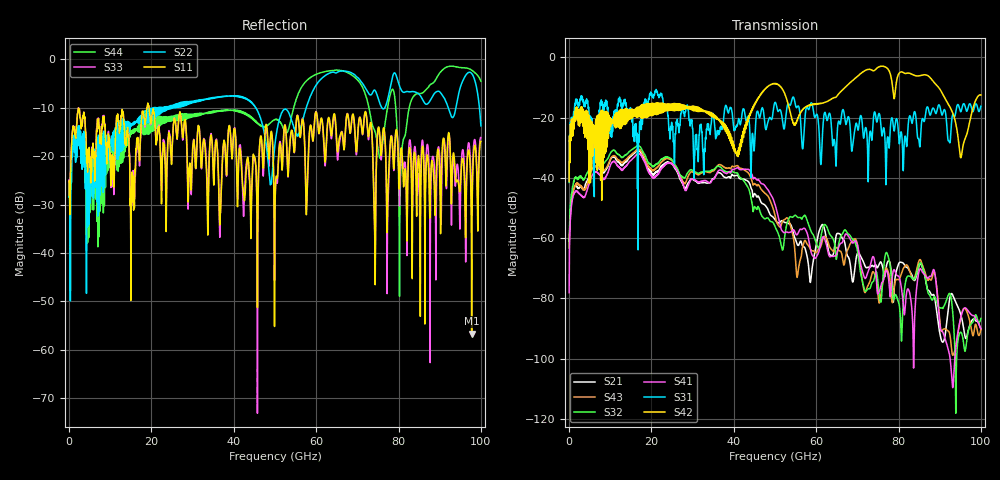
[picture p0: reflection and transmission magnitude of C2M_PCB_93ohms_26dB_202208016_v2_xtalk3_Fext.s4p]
! Info: Touchstone file created by Circ.  Input file=Intel_C2M_200G_11p0in_202208016_staggered.circ
# Hz S RI R 50
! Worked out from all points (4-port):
!   10000 points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, 10 MHz to 100 GHz, reference 50 ohm
!   strongest paths, dB at 10 MHz, 25.01 GHz, 50.01 GHz, 75.01 GHz, 100 GHz:
!     S42: -41.3, -16.9, -8.7, -3.4, -12.5
!     S31: -41.5, -23.6, -14.9, -19.7, -16.2
!     S41: -78.1, -35.4, -48.8, -78.5, -90.0
!     S32: -63.3, -34.0, -56.1, -74.6, -86.6
!     S43: -62.8, -34.3, -52.5, -78.6, -90.2
!     S21: -60.8, -35.5, -53.9, -69.5, -90.3
!   lowest |S11| = -56.6 dB at 97.76 GHz (marker M1), VSWR 1.00, Z = 50.1 - j0.0533 ohm
!   |S11| at or under -10 dB: start of sweep to 18.9 GHz; 19.42 GHz to end of sweep
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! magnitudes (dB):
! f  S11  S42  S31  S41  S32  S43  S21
! 10 MHz  -28.1  -41.3  -41.5  -78.1  -63.3  -62.8  -60.8
! 1.41 GHz  -15.4  -18.7  -15.4  -44.9  -40.2  -42.8  -42.9
! 16.91 GHz  -18.3  -19.4  -25.8  -32.1  -29.5  -30.6  -31.1
! 66.27 GHz  -15.2  -11.0  -18.2  -61.6  -58.8  -65.6  -59.9
! 80.35 GHz  -22.1  -5.0  -27.0  -73.8  -84.2  -73.1  -68.0
! 97.76 GHz  -56.6  -18.5  -17.0  -85.5  -88.3  -90.8  -87.4
! 100 GHz  -16.9  -12.5  -16.2  -90.0  -86.6  -90.2  -90.3
